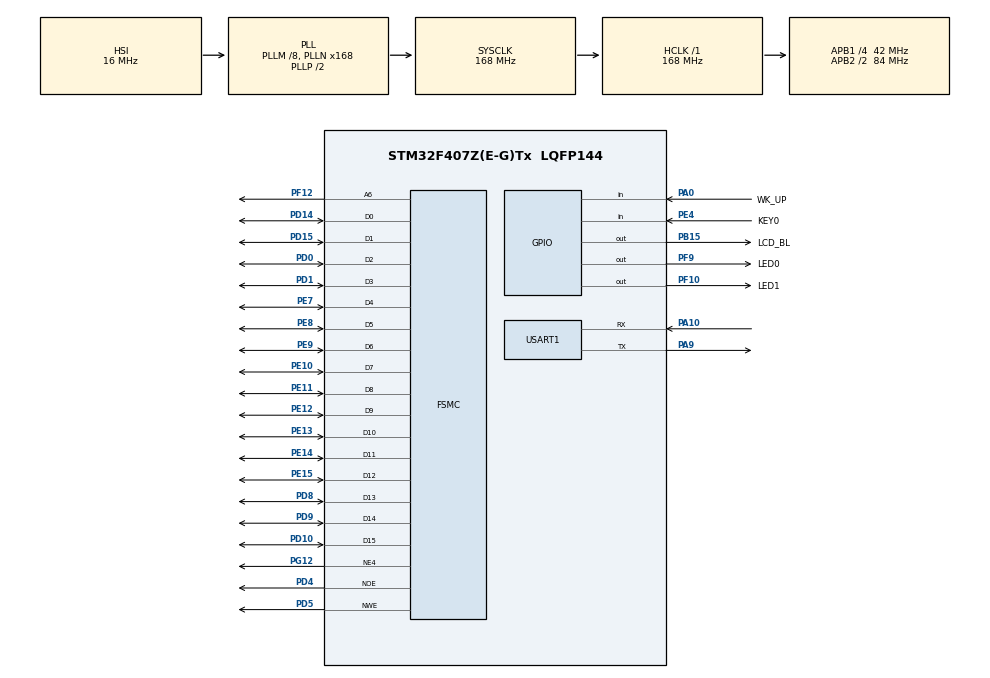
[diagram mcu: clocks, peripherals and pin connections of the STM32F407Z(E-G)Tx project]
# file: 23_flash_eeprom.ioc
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FSMC.AddressSetupTime1=15
FSMC.BusTurnAroundDuration1=0
FSMC.DataSetupTime1=60
FSMC.ExtendedAddressSetupTime1=9
FSMC.ExtendedBusTurnAroundDuration1=0
FSMC.ExtendedDataSetupTime1=9
FSMC.ExtendedMode1=FSMC_EXTENDED_MODE_ENABLE
Mcu.Family=STM32F4
Mcu.Name=STM32F407Z(E-G)Tx
Mcu.Package=LQFP144
NVIC.PriorityGroup=NVIC_PRIORITYGROUP_2
NVIC.TIM4_IRQn=true\:2\:1\:true\:false\:true\:true\:true\:true
NVIC.USART1_IRQn=true\:2\:2\:true\:false\:true\:true\:true\:true
PA0-WKUP.GPIO_Label=WK_UP
PA0-WKUP.GPIO_PuPd=GPIO_PULLDOWN
PA0-WKUP.Signal=GPIO_Input
PA10.GPIO_PuPd=GPIO_PULLUP
PA10.Mode=Asynchronous
PA10.Signal=USART1_RX
PA13.Mode=Serial_Wire
PA13.Signal=SYS_JTMS-SWDIO
PA14.Mode=Serial_Wire
PA14.Signal=SYS_JTCK-SWCLK
PA9.GPIO_PuPd=GPIO_PULLUP
PA9.Mode=Asynchronous
PA9.Signal=USART1_TX
PB15.GPIO_Label=LCD_BL
PB15.GPIO_PuPd=GPIO_PULLUP
PB15.GPIO_Speed=GPIO_SPEED_FREQ_VERY_HIGH
PB15.PinState=GPIO_PIN_SET
PB15.Signal=GPIO_Output
PC14-OSC32_IN.Mode=LSE-External-Oscillator
PC14-OSC32_IN.Signal=RCC_OSC32_IN
PC15-OSC32_OUT.Mode=LSE-External-Oscillator
PC15-OSC32_OUT.Signal=RCC_OSC32_OUT
PD0.Signal=FSMC_D2_DA2
PD1.Signal=FSMC_D3_DA3
PD10.Signal=FSMC_D15_DA15
PD14.Signal=FSMC_D0_DA0
PD15.Signal=FSMC_D1_DA1
PD4.Signal=FSMC_NOE
PD5.Signal=FSMC_NWE
PD8.Signal=FSMC_D13_DA13
PD9.Signal=FSMC_D14_DA14
PE10.Signal=FSMC_D7_DA7
PE11.Signal=FSMC_D8_DA8
PE12.Signal=FSMC_D9_DA9
PE13.Signal=FSMC_D10_DA10
PE14.Signal=FSMC_D11_DA11
PE15.Signal=FSMC_D12_DA12
PE4.GPIO_Label=KEY0
PE4.GPIO_PuPd=GPIO_PULLDOWN
PE4.Signal=GPIO_Input
PE7.Signal=FSMC_D4_DA4
PE8.Signal=FSMC_D5_DA5
PE9.Signal=FSMC_D6_DA6
PF10.GPIO_Label=LED1
PF10.GPIO_PuPd=GPIO_PULLDOWN
PF10.GPIO_Speed=GPIO_SPEED_FREQ_VERY_HIGH
PF10.PinState=GPIO_PIN_SET
PF10.Signal=GPIO_Output
PF12.Signal=FSMC_A6
PF9.GPIO_Label=LED0
PF9.GPIO_PuPd=GPIO_PULLDOWN
PF9.GPIO_Speed=GPIO_SPEED_FREQ_VERY_HIGH
PF9.PinState=GPIO_PIN_SET
PF9.Signal=GPIO_Output
PG12.Mode=NorPsramChipSelect4_1
PG12.Signal=FSMC_NE4
PH0-OSC_IN.Mode=HSE-External-Oscillator
PH0-OSC_IN.Signal=RCC_OSC_IN
PH1-OSC_OUT.Mode=HSE-External-Oscillator
PH1-OSC_OUT.Signal=RCC_OSC_OUT
ProjectManager.HeapSize=0x200
ProjectManager.StackSize=0x400
ProjectManager.TargetToolchain=STM32CubeIDE
RCC.48MHZClocksFreq_Value=84000000
RCC.AHBFreq_Value=168000000
RCC.APB1CLKDivider=RCC_HCLK_DIV4
RCC.APB1Freq_Value=42000000
RCC.APB1TimFreq_Value=84000000
RCC.APB2CLKDivider=RCC_HCLK_DIV2
RCC.APB2Freq_Value=84000000
RCC.APB2TimFreq_Value=168000000
RCC.CortexFreq_Value=168000000
RCC.HCLKFreq_Value=168000000
RCC.HSE_VALUE=25000000
RCC.HSI_VALUE=16000000
RCC.PLLM=8
RCC.PLLN=168
RCC.SYSCLKFreq_VALUE=168000000
RCC.SYSCLKSource=RCC_SYSCLKSOURCE_PLLCLK
RCC.VCOOutputFreq_Value=336000000
SH.FSMC_A6.0=FSMC_A6,A6_1
SH.FSMC_D0_DA0.0=FSMC_D0,16b-d1
SH.FSMC_D10_DA10.0=FSMC_D10,16b-d1
SH.FSMC_D11_DA11.0=FSMC_D11,16b-d1
SH.FSMC_D12_DA12.0=FSMC_D12,16b-d1
SH.FSMC_D13_DA13.0=FSMC_D13,16b-d1
SH.FSMC_D14_DA14.0=FSMC_D14,16b-d1
SH.FSMC_D15_DA15.0=FSMC_D15,16b-d1
SH.FSMC_D1_DA1.0=FSMC_D1,16b-d1
SH.FSMC_D2_DA2.0=FSMC_D2,16b-d1
SH.FSMC_D3_DA3.0=FSMC_D3,16b-d1
SH.FSMC_D4_DA4.0=FSMC_D4,16b-d1
SH.FSMC_D5_DA5.0=FSMC_D5,16b-d1
SH.FSMC_D6_DA6.0=FSMC_D6,16b-d1
SH.FSMC_D7_DA7.0=FSMC_D7,16b-d1
SH.FSMC_D8_DA8.0=FSMC_D8,16b-d1
SH.FSMC_D9_DA9.0=FSMC_D9,16b-d1
SH.FSMC_NOE.0=FSMC_NOE,Lcd1
SH.FSMC_NWE.0=FSMC_NWE,Lcd1
TIM4.AutoReloadPreload=TIM_AUTORELOAD_PRELOAD_ENABLE
TIM4.Period=1000 - 1
TIM4.Prescaler=168 - 1
USART1.VirtualMode=VM_ASYNC
VP_TIM4_VS_ClockSourceINT.Mode=Internal
board=custom

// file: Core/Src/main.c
/* USER CODE BEGIN Header */
/**
 ****************************************************************************************************
 * @file        main.c
 * @author      ALIENTEK
 * @brief       Flash_eeprom code
 * @license     Copyright (C) 2020-2032, ALIENTEK
 ****************************************************************************************************
 * @attention
 *
 * platform     : ALIENTEK M144-STM32F407 board
 * website      : https://www.alientek.com
 * forum        : http://www.openedv.com/forum.php
 *
 * change logs  :
 * version    data    notes
 * V1.0     20240410  the first version
 *
 ****************************************************************************************************
 */
/* USER CODE END Header */
#include "main.h"
#include "tim.h"
#include "usart.h"
#include "gpio.h"
#include "fsmc.h"

/* USER CODE BEGIN Includes */
#include "../../BSP/LED/led.h"
#include "../../BSP/KEY/key.h"
#include "../../BSP/LCD/lcd.h"
#include "../../SYSTEM/delay/delay.h"
#include "../../BSP/STMFLASH/stmflash.h"
#include "../../ATK_Middlewares/USMART/usmart.h"
/* USER CODE END Includes */

/* USER CODE BEGIN PTD */

static const uint8_t g_text_buf[] = {"STM32 FLASH TEST"};
#define TEXT_SIZE (((sizeof(g_text_buf) >> 2) << 2) + 4)

/* USER CODE END PTD */

void SystemClock_Config(void);

int main(void)
{
  /* USER CODE BEGIN 1 */

    uint8_t t = 0;
    uint8_t key;
    uint8_t data[TEXT_SIZE];
    uint8_t wdata[TEXT_SIZE] = {0};
    uint8_t index;

  /* USER CODE END 1 */

  /* MCU Configuration--------------------------------------------------------*/

  /* Reset of all peripherals, Initializes the Flash interface and the Systick. */
  HAL_Init();

  /* Configure the system clock */
  SystemClock_Config();

  /* USER CODE BEGIN SysInit */
  delay_init(168);
  /* USER CODE END SysInit */

  /* Initialize all configured peripherals */
  MX_GPIO_Init();
  MX_USART1_UART_Init();
  MX_FSMC_Init();
  MX_TIM4_Init();
  /* USER CODE BEGIN 2 */

  lcd_init();

  lcd_show_string(30, 50, 200, 16, 16, "STM32", RED);
  lcd_show_string(30, 70, 200, 16, 16, "FLASH TEST", RED);
  lcd_show_string(30, 90, 200, 16, 16, "ATOM@ALIENTEK", RED);

  lcd_show_string(30, 110, 200, 16, 16, "WK_UP:Write KEY0:Read", RED);

  for (index=0; index<sizeof(g_text_buf); index++)
  {
      wdata[index] = g_text_buf[index];
  }

  /* USER CODE END 2 */

  /* Infinite loop */
  while (1)
  {

      key = key_scan(0);
      if (key == WKUP_PRES)
      {
    	  /* Writing data to Flash */
          lcd_fill(0, 130, 239, 319, WHITE);
          lcd_show_string(30, 130, 200, 16, 16, "Start Write Flash....", BLUE);
          stmflash_write(FLASH_END + 1 - TEXT_SIZE, (uint32_t *)wdata, TEXT_SIZE / sizeof(uint32_t));
          lcd_show_string(30, 130, 200, 16, 16, "Flash Write Finished!", BLUE);
      }
      else if (key == KEY0_PRES)
      {
    	  /* Read data from Flash */
          lcd_show_string(30, 130, 200, 16, 16, "Start Read Flash.... ", BLUE);
          stmflash_read(FLASH_END + 1 - TEXT_SIZE, (uint32_t *)data, TEXT_SIZE / sizeof(uint32_t));
          lcd_show_string(30, 130, 200, 16, 16, "The Data Readed Is:  ", BLUE);
          lcd_show_string(30, 150, 200, 16, 16, (char *)data, BLUE);
      }

      if (++t == 20)
      {
          t = 0;
          LED0_TOGGLE();
      }

	  HAL_Delay(10);

  }
}

void SystemClock_Config(void)
{
  RCC_OscInitTypeDef RCC_OscInitStruct = {0};
  RCC_ClkInitTypeDef RCC_ClkInitStruct = {0};

  /** Configure the main internal regulator output voltage
  */
  __HAL_RCC_PWR_CLK_ENABLE();
  __HAL_PWR_VOLTAGESCALING_CONFIG(PWR_REGULATOR_VOLTAGE_SCALE1);

  /** Initializes the RCC Oscillators according to the specified parameters
  * in the RCC_OscInitTypeDef structure.
  */
  RCC_OscInitStruct.OscillatorType = RCC_OSCILLATORTYPE_HSI;
  RCC_OscInitStruct.HSIState = RCC_HSI_ON;
  RCC_OscInitStruct.HSICalibrationValue = RCC_HSICALIBRATION_DEFAULT;
  RCC_OscInitStruct.PLL.PLLState = RCC_PLL_ON;
  RCC_OscInitStruct.PLL.PLLSource = RCC_PLLSOURCE_HSI;
  RCC_OscInitStruct.PLL.PLLM = 8;
  RCC_OscInitStruct.PLL.PLLN = 168;
  RCC_OscInitStruct.PLL.PLLP = RCC_PLLP_DIV2;
  RCC_OscInitStruct.PLL.PLLQ = 4;
  if (HAL_RCC_OscConfig(&RCC_OscInitStruct) != HAL_OK)
  {
    Error_Handler();
  }

  /** Initializes the CPU, AHB and APB buses clocks
  */
  RCC_ClkInitStruct.ClockType = RCC_CLOCKTYPE_HCLK|RCC_CLOCKTYPE_SYSCLK
                              |RCC_CLOCKTYPE_PCLK1|RCC_CLOCKTYPE_PCLK2;
  RCC_ClkInitStruct.SYSCLKSource = RCC_SYSCLKSOURCE_PLLCLK;
  RCC_ClkInitStruct.AHBCLKDivider = RCC_SYSCLK_DIV1;
  RCC_ClkInitStruct.APB1CLKDivider = RCC_HCLK_DIV4;
  RCC_ClkInitStruct.APB2CLKDivider = RCC_HCLK_DIV2;

  if (HAL_RCC_ClockConfig(&RCC_ClkInitStruct, FLASH_LATENCY_5) != HAL_OK)
  {
    Error_Handler();
  }
}

void Error_Handler(void)
{
  __disable_irq();
  while (1)
  {
  }
}
